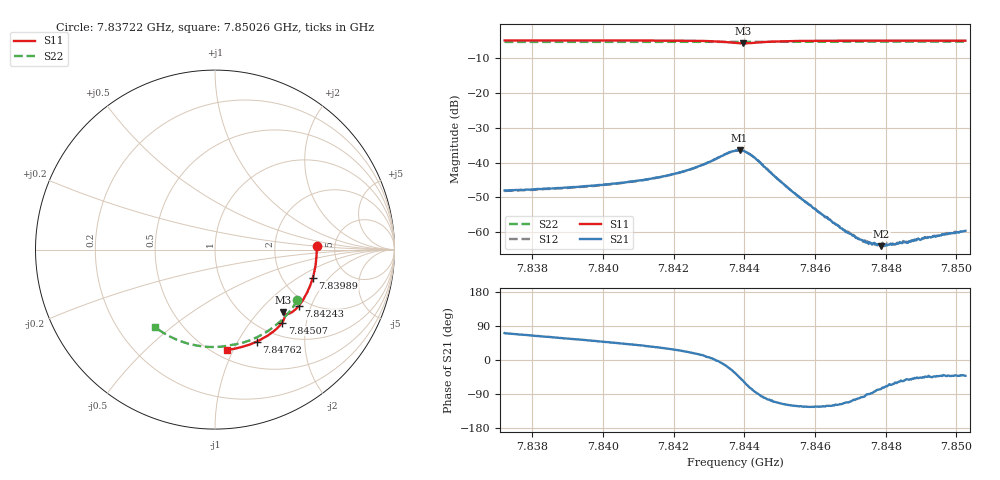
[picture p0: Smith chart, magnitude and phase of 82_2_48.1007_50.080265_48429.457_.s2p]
#  HZ  S  RI  R  50.00
! Rohde & Schwarz Vector Network Analyzer
! Rohde-Schwarz,ZNB20-2Port,1311601062101988,3.16
! Created: UTC 12/23/2023, 3:42:51 AM
! freq[Hz]  re:S11  im:S11  re:S21  im:S21  re:S12  im:S12  re:S22  im:S22
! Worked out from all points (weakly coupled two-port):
!   401 points, 7.83722 GHz to 7.85026 GHz, reference 50 ohm
!   highest |S21| = -36.46 dB at 7.84387 GHz (marker M1); lowest = -64.0 dB at 7.84788 GHz (marker M2)
!   lowest |S11| = -5.8 dB at 7.84397 GHz (marker M3), VSWR 3.13, Z = 72.4 - j68.8 ohm
!   |S11| at or under -10 dB: nowhere
!   |S22| runs from -5.4 to -5.3 dB; largest |S21 - S12| = 0.0003
!   S11 on the Smith chart (normalised r, x): 7.83722 GHz: 3.60, +0.22; 7.83989 GHz: 2.93, -1.35; 7.84243 GHz: 1.79, -1.64; 7.84507 GHz: 1.25, -1.46; 7.84762 GHz: 0.80, -1.21; 7.85026 GHz: 0.58, -0.94
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7.837221e9  0.5659 0.0206  0.00129 0.00376  0.00132 0.00365  0.4594 -0.2834
7.839404e9  0.5533 -0.124  0.0027 0.00362  0.00269 0.00358  0.3624 -0.4012
7.839893e9  0.5451 -0.1558  0.00311 0.00361  0.00305 0.00358  0.336 -0.4234
7.841587e9  0.5006 -0.263  0.00518 0.00335  0.00512 0.00332  0.2359 -0.4871
7.842435e9  0.4666 -0.3138  0.00739 0.00278  0.00734 0.0028  0.1809 -0.5103
7.843282e9  0.415 -0.3557  0.0119 -0.000797  0.0119 -0.00079  0.1235 -0.5261
7.843738e9  0.383 -0.3559  0.0122 -0.00825  0.0123 -0.0082  0.0929 -0.531
7.843868e9  0.3793 -0.3515  0.0105 -0.0108  0.0104 -0.0107  0.0846 -0.5323
7.843966e9  0.3794 -0.3488  0.0085 -0.012  0.0084 -0.012  0.0786 -0.5333
7.844129e9  0.3834 -0.3483  0.00444 -0.0126  0.00454 -0.0126  0.0683 -0.5352
7.844325e9  0.3884 -0.356  0.000981 -0.0113  0.000911 -0.0113  0.0555 -0.5375
7.845074e9  0.3741 -0.4062  -0.00221 -0.00462  -0.00219 -0.00463  0.00316 -0.5427
7.845921e9  0.3321 -0.4508  -0.00127 -0.00191  -0.00129 -0.00196  -0.0568 -0.5409
7.846541e9  0.2975 -0.4765  -0.000679 -0.00118  -0.000662 -0.00118  -0.0998 -0.5349
7.846932e9  0.2747 -0.4907  -0.000371 -0.000904  -0.000375 -0.000947  -0.127 -0.5293
7.84729e9  0.2533 -0.5024  -0.000121 -0.000772  -0.000121 -0.000782  -0.1512 -0.5231
7.847616e9  0.2335 -0.5121  3.28e-05 -0.00066  2.42e-05 -0.000687  -0.1732 -0.5166
7.847877e9  0.2175 -0.5193  0.000152 -0.000611  0.000141 -0.000633  -0.1904 -0.5105
7.848105e9  0.2032 -0.5252  0.00029 -0.000593  0.000273 -0.000615  -0.2055 -0.5048
7.848398e9  0.1848 -0.5318  0.000393 -0.000606  0.000359 -0.000594  -0.2244 -0.4969
7.849604e9  0.107 -0.5526  0.000695 -0.000633  0.000688 -0.000649  -0.2987 -0.4569
7.850256e9  0.0641 -0.5589  0.00078 -0.000694  0.000765 -0.000699  -0.3361 -0.4306
